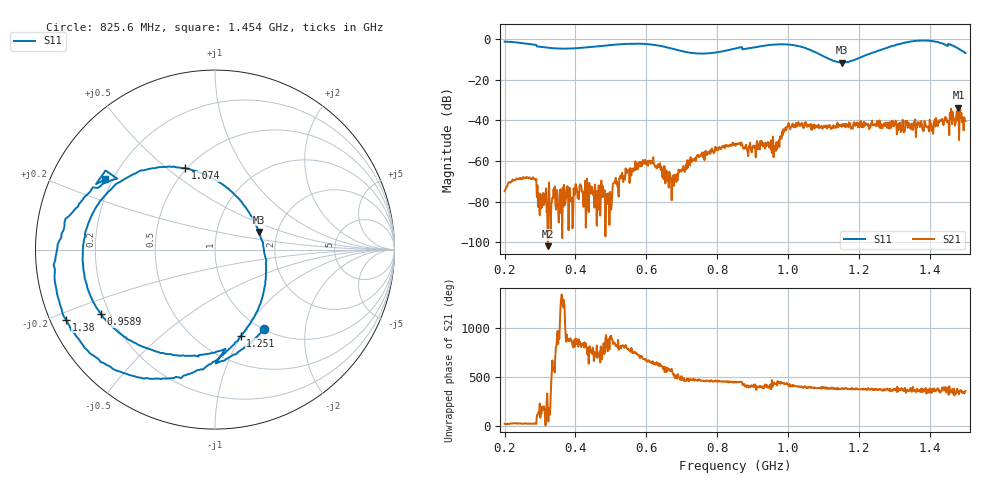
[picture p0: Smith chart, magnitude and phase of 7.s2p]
! NanoVNA-App
! Date: 2024-06-25 16:49:59
! Start: 200MHz Stop: 1.5GHz Points: 801
! S-Parameter data: F S11 S21 S12 S22
# Hz S RI R 50
!  Frequency  S11_Real  S11_Imag  S21_Real  S21_Imag  S12_Real  S12_Imag  S22_Real  S22_Imag
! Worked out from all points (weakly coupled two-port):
!   801 points, 200 MHz to 1.5 GHz, reference 50 ohm
!   highest |S21| = -33.80 dB at 1.48 GHz (marker M1); lowest = -101.8 dB at 321.9 MHz (marker M2)
!   lowest |S11| = -11.6 dB at 1.152 GHz (marker M3), VSWR 1.71, Z = 80.1 + j16.8 ohm
!   |S11| at or under -10 dB: 1.118 GHz to 1.191 GHz (73.11 MHz wide, 6.33 % of centre)
!   S12 and S22 are empty: the file has one direction only
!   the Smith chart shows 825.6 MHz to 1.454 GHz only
!   S11 on the Smith chart (normalised r, x): 825.6 MHz: 1.00, -1.22; 958.9 MHz: 0.17, -0.26; 1.074 GHz: 0.49, +0.58; 1.251 GHz: 0.77, -1.00; 1.38 GHz: 0.05, -0.22; 1.454 GHz: 0.17, +0.28
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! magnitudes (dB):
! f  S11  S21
! 200 MHz  -1.3  -74.8
! 276.4 MHz  -2.6  -68.6
! 300.8 MHz  -3.9  -76.1
! 321.9 MHz  -4.3  -101.8
! 417.8 MHz  -4.3  -74.8
! 497.4 MHz  -3.0  -75.2
! 544.5 MHz  -2.4  -66.0
! 633.9 MHz  -3.2  -61.5
! 677.8 MHz  -5.0  -72.2
! 825.6 MHz  -5.7  -52.8
! 850 MHz  -4.7  -51.5
! 958.9 MHz  -2.7  -58.1
! 997.9 MHz  -2.7  -43.1
! 1.068 GHz  -5.8  -44.6
! 1.074 GHz  -6.3  -44.0
! 1.152 GHz  -11.6  -41.8
! 1.251 GHz  -6.0  -40.2
! 1.284 GHz  -4.1  -43.9
! 1.38 GHz  -0.7  -45.0
! 1.454 GHz  -2.8  -47.3
! 1.48 GHz  -4.8  -33.8
! 1.5 GHz  -6.9  -40.4
